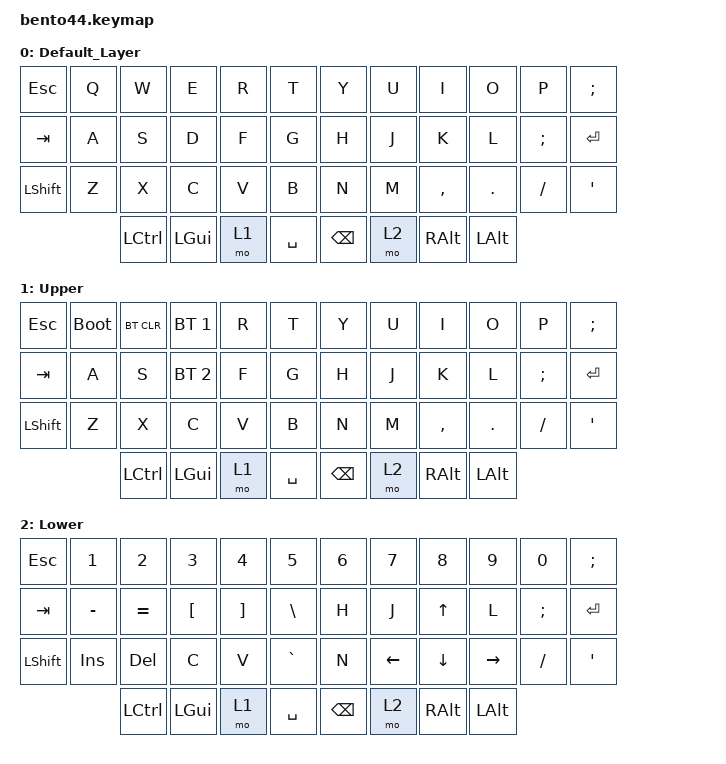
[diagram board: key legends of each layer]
#include <behaviors.dtsi>
#include <dt-bindings/zmk/keys.h>
#include <dt-bindings/zmk/bt.h>

/ {
    keymap {
        compatible = "zmk,keymap";

        default_layer { // Layer 0
           display-name = "Default_Layer";

            bindings = <
                &kp ESC     &kp Q       &kp W       &kp E       &kp R        &kp T          &kp Y       &kp U         &kp I         &kp O        &kp P        &kp SEMI     
                &kp TAB     &kp A       &kp S       &kp D       &kp F        &kp G          &kp H       &kp J         &kp K         &kp L        &kp SEMI     &kp RET    
                &kp LSHFT   &kp Z       &kp X       &kp C       &kp V        &kp B          &kp N       &kp M         &kp COMMA     &kp DOT      &kp FSLH     &kp SQT     
                                        &kp LCTRL   &kp LGUI    &mo 1        &kp SPACE      &kp BSPC    &mo 2         &kp RALT     &kp LALT                                                                               
            >;
        }; 

        upper { // Layer 1
            display-name = "Upper";
            bindings = <
                &kp ESC     &bootloader &bt BT_CLR  &bt BT_SEL 1 &kp R       &kp T          &kp Y       &kp U         &kp I         &kp O        &kp P        &kp SEMI     
                &kp TAB     &kp A       &kp S       &bt BT_SEL 2 &kp F       &kp G          &kp H       &kp J         &kp K         &kp L        &kp SEMI     &kp RET     
                &kp LSHFT   &kp Z       &kp X       &kp C       &kp V        &kp B          &kp N       &kp M         &kp COMMA     &kp DOT      &kp FSLH     &kp SQT     
                                        &kp LCTRL   &kp LGUI    &mo 1        &kp SPACE      &kp BSPC    &mo 2         &kp RALT      &kp LALT                                                                               
            >;
        };

        lower { // Layer 2
            display-name = "Lower";
            bindings = <
                &kp ESC     &kp N1      &kp N2      &kp N3      &kp N4       &kp N5         &kp N6      &kp N7        &kp N8        &kp N9       &kp N0      &kp SEMI
                &kp TAB     &kp MINUS   &kp EQUAL   &kp LBKT    &kp RBKT     &kp BSLH       &kp H       &kp J         &kp UP        &kp L        &kp SEMI     &kp RET     
                &kp LSHFT   &kp INS     &kp DEL     &kp C       &kp V        &kp GRAVE      &kp N       &kp LEFT      &kp DOWN      &kp RIGHT    &kp FSLH     &kp SQT     
                                        &kp LCTRL   &kp LGUI    &mo 1        &kp SPACE      &kp BSPC       &mo 2         &kp RALT      &kp LALT                                                                                
            >;
        };
    };
 };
